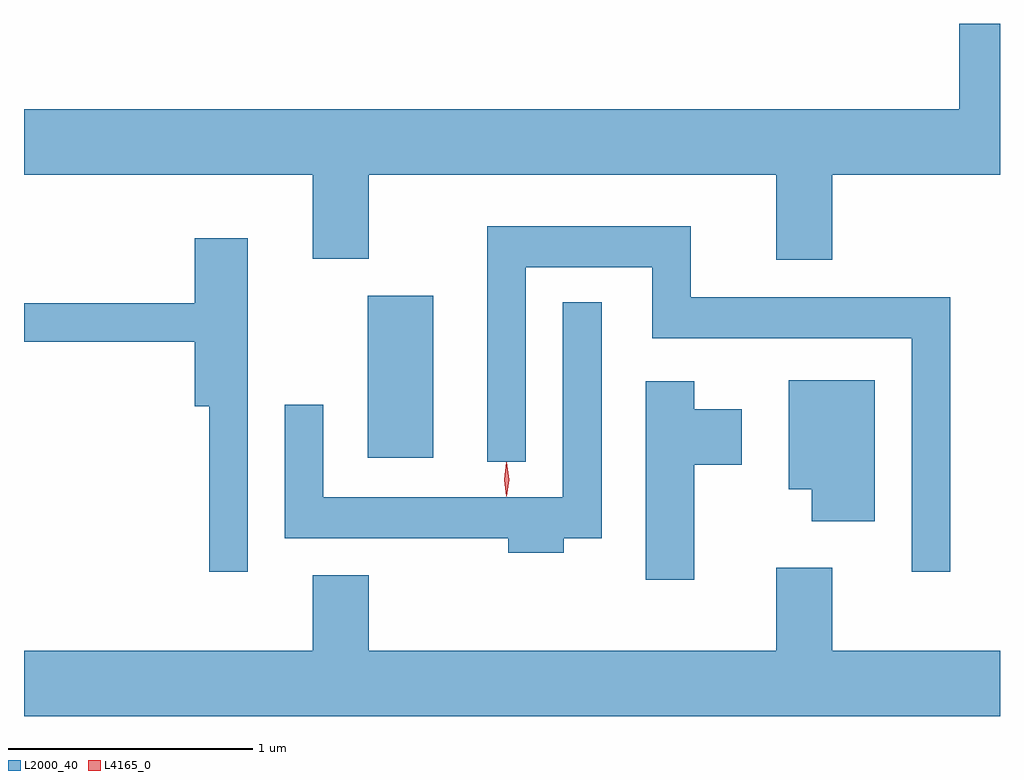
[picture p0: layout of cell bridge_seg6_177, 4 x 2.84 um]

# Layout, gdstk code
import gdstk
lib = gdstk.Library(unit=1e-6, precision=1e-09)
def R(c, l, rs):  # rectangles x0, y0, x1, y1
    for r in rs: c.add(gdstk.rectangle(r[:2], r[2:], *l))
def P(c, l, *ps):  # polygons
    for p in ps: c.add(gdstk.Polygon(p, *l))
L2000_40 = (2000, 40)
L4165_0 = (4165, 0)

bridge_seg6_177 = lib.new_cell('bridge_seg6_177')
R(bridge_seg6_177, L2000_40, [(1076.256,1588.836,1076.524,1589.499)])
P(bridge_seg6_177, L2000_40, [(1078.159,1589.996),(1078.847,1589.996),(1078.847,1590.614),(1078.681,1590.614),(1078.681,1590.264),(1074.847,1590.264),(1074.847,1589.996),(1076.031,1589.996),(1076.031,1589.651),(1076.259,1589.651),(1076.259,1589.996),(1077.931,1589.996),(1077.931,1589.646),(1078.159,1589.646)],
  [(1078.644,1589.494),(1077.579,1589.494),(1077.579,1589.784),(1076.746,1589.784),(1076.746,1588.818),(1076.904,1588.818),(1076.904,1589.616),(1077.421,1589.616),(1077.421,1589.326),(1078.486,1589.326),(1078.486,1588.368),(1078.644,1588.368)],
  [(1075.764,1589.734),(1075.546,1589.734),(1075.546,1589.469),(1074.847,1589.469),(1074.847,1589.311),(1075.546,1589.311),(1075.546,1589.046),(1075.606,1589.046),(1075.606,1588.368),(1075.764,1588.368)],
  [(1077.059,1588.506),(1077.214,1588.506),(1077.214,1589.473),(1077.056,1589.473),(1077.056,1588.674),(1076.074,1588.674),(1076.074,1589.053),(1075.916,1589.053),(1075.916,1588.506),(1076.831,1588.506),(1076.831,1588.446),(1077.059,1588.446)],
  [(1078.334,1589.154),(1077.981,1589.154),(1077.981,1588.706),(1078.076,1588.706),(1078.076,1588.576),(1078.334,1588.576)],
  [(1077.594,1588.806),(1077.789,1588.806),(1077.789,1589.034),(1077.594,1589.034),(1077.594,1589.149),(1077.396,1589.149),(1077.396,1588.336),(1077.594,1588.336)],
  [(1078.847,1588.044),(1078.159,1588.044),(1078.159,1588.384),(1077.931,1588.384),(1077.931,1588.044),(1076.259,1588.044),(1076.259,1588.354),(1076.031,1588.354),(1076.031,1588.044),(1074.847,1588.044),(1074.847,1587.776),(1078.847,1587.776)])
P(bridge_seg6_177, L4165_0, [(1076.826,1588.679),(1076.825,1588.68),(1076.816,1588.746),(1076.825,1588.812),(1076.825,1588.813),(1076.826,1588.812),(1076.836,1588.746),(1076.826,1588.68)],
  [(1076.824,1588.677),(1076.815,1588.746),(1076.824,1588.816),(1076.825,1588.816),(1076.825,1588.816),(1076.835,1588.746),(1076.825,1588.677),(1076.825,1588.677)])

lib.write_gds('bridge_seg6_177.gds')
